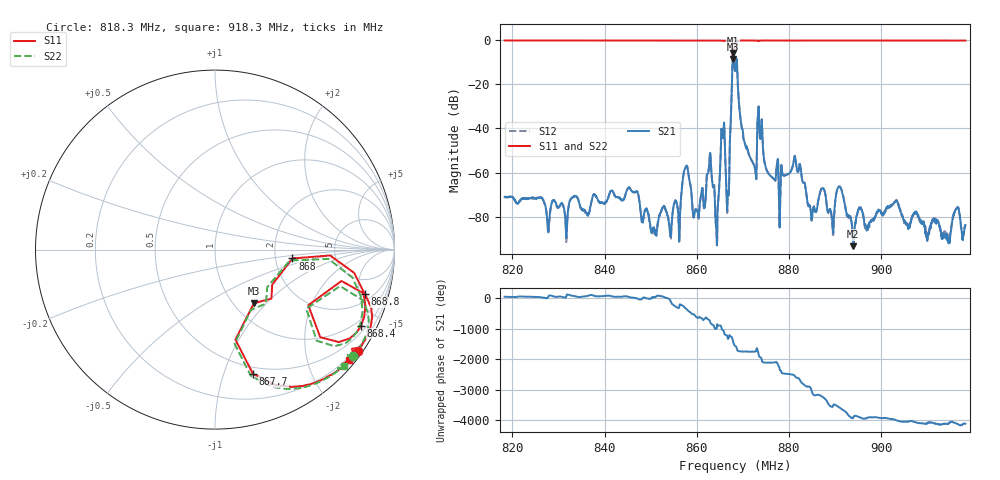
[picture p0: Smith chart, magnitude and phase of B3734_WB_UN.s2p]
! S-parameter for B3734 in Touchstone format with magnitude (lin) and phase
! Normalised impedance: 50 Ohm. Measurement system: 50 Ohm Ta = 25°C
! B3734_WB.s2p not matched. Measurement full 2-port calibrated incl. Port ext.
! Start: 818.3MHz, Stop: 918.3MHz, Span: 100MHz, 1601 Pts., Step: 62.5kHz
! Date:7/11/05 Epcos SAW COM WT AE PD, AB
! Pinning according data sheet recommendation, In P2, Out P4, all others GND
# MHZ S MA R 50
! freq  magS11 angS11  magS21 angS21  magS12 angS12  magS22 angS22
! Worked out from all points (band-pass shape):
!   1601 points, 818.3 MHz to 918.3 MHz, reference 50 ohm
!   highest |S21| = -5.82 dB at 867.9 MHz (marker M1); lowest = -93.2 dB at 894 MHz (marker M2)
!   |S21| within 3 dB of the highest: 867.7721 MHz to 868.0837 MHz (311.7 kHz wide, 0.0359 % of centre); 868.6617 MHz to 868.6856 MHz (23.86 kHz wide, 0.00275 % of centre)
!   lowest |S11| = -8.7 dB at 867.8 MHz (marker M3), VSWR 2.17, Z = 61.5 - j42.6 ohm
!   |S11| at or under -10 dB: nowhere
!   |S22| runs from -8.9 to -0.2 dB; largest |S21 - S12| = 0.00083
!   S11 on the Smith chart (normalised r, x): 818.3 MHz: 0.14, -3.12; 867.7 MHz: 0.43, -1.26; 868 MHz: 2.49, -0.30; 868.4 MHz: 0.74, -3.96; 868.8 MHz: 2.71, -5.61; 918.3 MHz: 0.13, -2.78
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818.3  0.9749 -35.5  0.0002829 51.5  0.0002818 50.9  0.9708 -37.7
834.9875  0.9742 -36.3  0.0001533 51.6  0.0001485 48.3  0.9703 -38.5
851.675  0.9738 -37.4  8.439e-05 86.1  8.737e-05 85.7  0.9696 -39.6
857.675  0.9721 -38.0  0.001385 25.9  0.00138 25.8  0.968 -40.2
864.3625  0.9705 -39.9  2.27e-05 99.9  2.688e-05 108.5  0.9663 -42.1
865.6125  0.9669 -41.2  0.006093 43.0  0.006094 43.3  0.9629 -43.4
866.8  0.9592 -45.0  0.0003493 107.4  0.0003379 108.9  0.955 -47.1
867.675  0.7233 -73.0  0.1638 145.7  0.1639 145.8  0.7317 -74.1
867.8  0.3694 -54.0  0.4269 73.8  0.4268 73.8  0.3909 -59.1
867.925  0.374 -31.5  0.5116 1.3  0.5115 1.3  0.3582 -35.7
867.9875  0.434 -6.6  0.4911 -32.5  0.4909 -32.4  0.4211 -8.3
868.3  0.9118 -24.3  0.2063 -114.0  0.2062 -113.8  0.908 -26.5
868.3625  0.9176 -27.5  0.1981 -120.6  0.1981 -120.5  0.9139 -29.7
868.8  0.8721 -16.5  0.1938 98.9  0.1936 99.1  0.8706 -18.9
872.425  0.9752 -35.8  0.001487 52.1  0.001495 52.7  0.9713 -38.1
873.675  0.973 -35.7  0.006904 -120.3  0.006902 -120.1  0.9692 -38.0
875.55  0.9749 -36.5  0.000958 52.4  0.0009637 52.7  0.9708 -38.8
881.3  0.9703 -37.3  0.002403 -33.0  0.002407 -32.7  0.966 -39.6
884.9875  0.9737 -37.6  9.551e-05 174.8  8.757e-05 173.0  0.9695 -39.9
893.9875  0.9726 -38.2  2.185e-05 55.8  2.476e-05 58.4  0.968 -40.6
901.675  0.9722 -38.6  0.0001679 20.3  0.0001689 19.0  0.9677 -41.0
918.3  0.9709 -39.5  6.571e-05 -147.0  6.647e-05 -154.2  0.9662 -42.0
